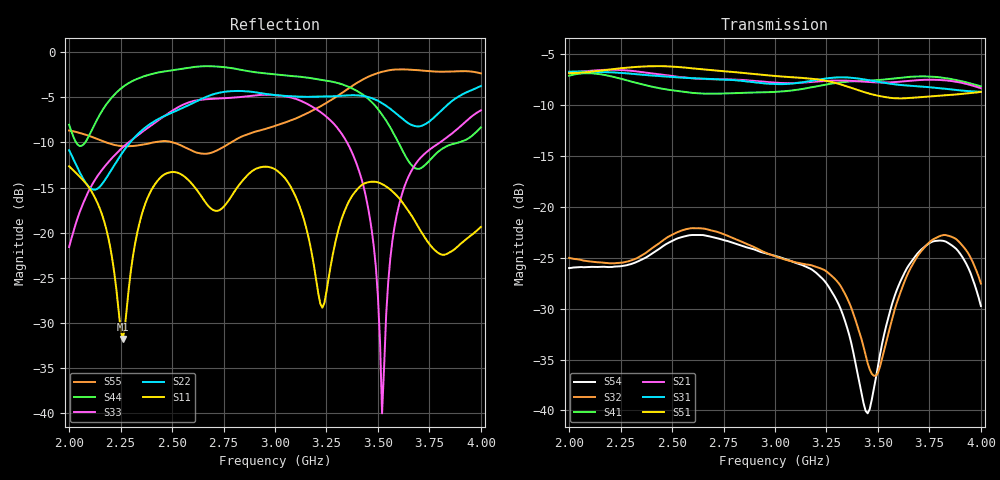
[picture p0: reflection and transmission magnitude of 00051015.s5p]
! Created with skrf 1.8.0 (http://scikit-rf.org).
# Hz S RI R 50.0
!freq ReS11 ImS11 ReS12 ImS12 ReS13 ImS13
! ReS14 ImS14 ReS15 ImS15
! ReS21 ImS21 ReS22 ImS22 ReS23 ImS23
! ReS24 ImS24 ReS25 ImS25
! ReS31 ImS31 ReS32 ImS32 ReS33 ImS33
! ReS34 ImS34 ReS35 ImS35
! ReS41 ImS41 ReS42 ImS42 ReS43 ImS43
! ReS44 ImS44 ReS45 ImS45
! ReS51 ImS51 ReS52 ImS52 ReS53 ImS53
! ReS54 ImS54 ReS55 ImS55
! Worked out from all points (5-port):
!   201 points, 2 GHz to 4 GHz, reference 50 ohm
!   strongest paths, dB at 2 GHz, 2.5 GHz, 3 GHz, 3.5 GHz, 4 GHz:
!     S51: -6.9, -6.2, -7.1, -9.1, -8.7
!     S31: -6.7, -7.2, -7.9, -7.7, -8.7
!     S21: -6.8, -7.1, -7.8, -7.8, -8.3
!     S41: -7.1, -8.5, -8.7, -7.5, -8.1
!     S32: -25.0, -22.7, -24.8, -36.3, -27.5
!     S54: -26.0, -23.3, -24.8, -35.7, -29.7
!   lowest |S11| = -31.8 dB at 2.26 GHz (marker M1), VSWR 1.05, Z = 48.3 + j1.88 ohm
!   |S11| at or under -10 dB: start of sweep to end of sweep
